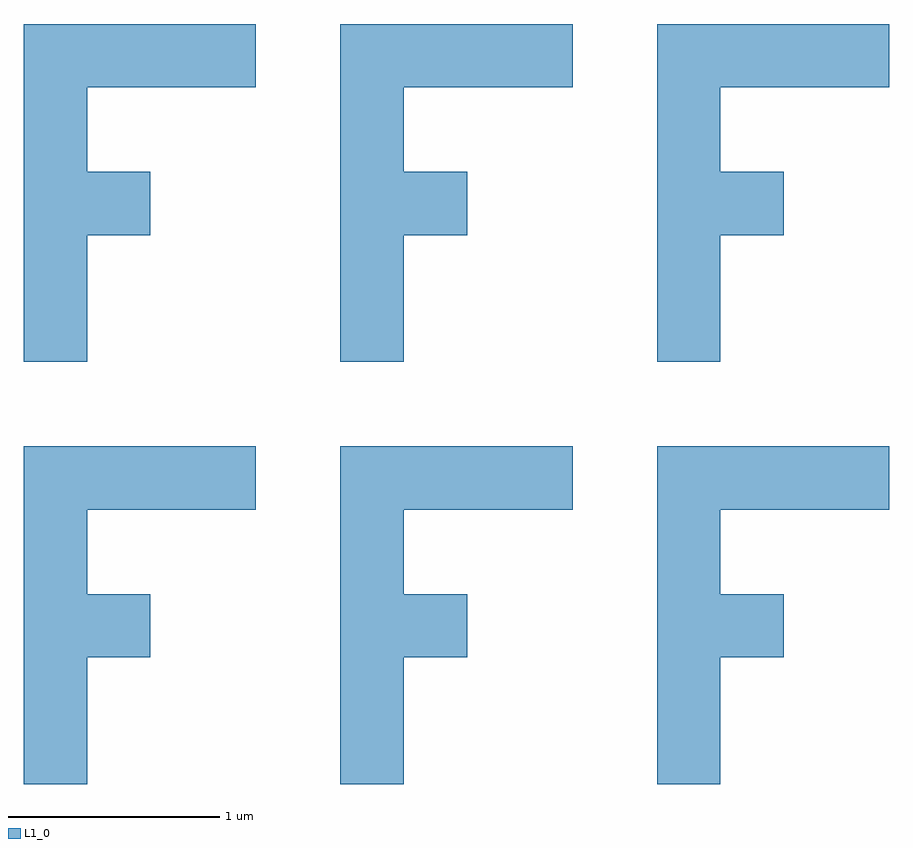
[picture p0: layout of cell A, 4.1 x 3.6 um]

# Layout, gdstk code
import gdstk
lib = gdstk.Library(unit=1e-6, precision=5e-10)
def P(c, l, *ps):  # polygons
    for p in ps: c.add(gdstk.Polygon(p, *l))
L1_0 = (1, 0)

c_t = lib.new_cell('T')
P(c_t, L1_0, [(0,0),(0,1.6),(1.1,1.6),(1.1,1.3),(0.3,1.3),(0.3,0.9),(0.6,0.9),(0.6,0.6),(0.3,0.6),(0.3,0)])

c_a = lib.new_cell('A')
r = gdstk.Reference(c_t, (42,0)); r.repetition = gdstk.Repetition(3, 2, v1=(1.5,0), v2=(0,2)); c_a.add(r)

lib.write_gds('A.gds')
